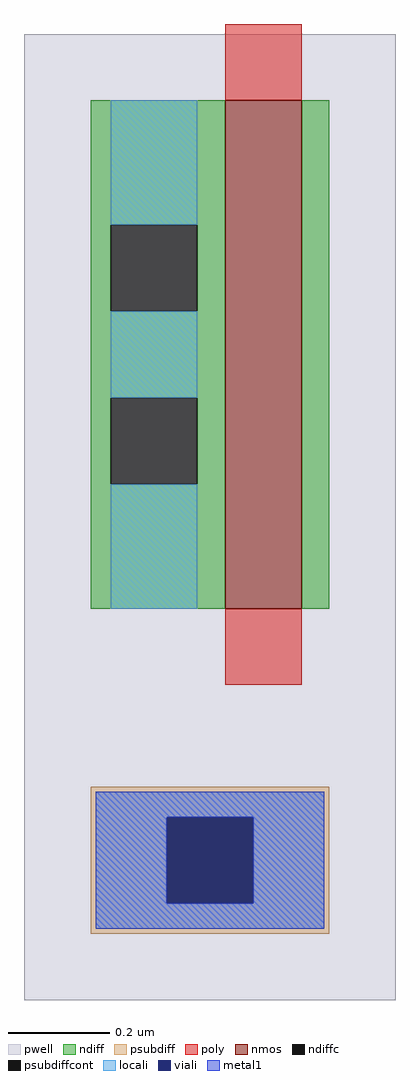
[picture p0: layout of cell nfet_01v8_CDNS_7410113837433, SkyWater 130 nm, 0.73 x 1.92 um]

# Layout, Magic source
magic
tech sky130A
magscale 1 2
<< pwell >>
rect -79 -154 67 226
<< nmos >>
rect 0 0 30 200
<< ndiff >>
rect -53 151 0 200
rect -53 117 -45 151
rect -11 117 0 151
rect -53 83 0 117
rect -53 49 -45 83
rect -11 49 0 83
rect -53 0 0 49
rect 30 0 41 200
<< ndiffc >>
rect -45 117 -11 151
rect -45 49 -11 83
<< psubdiff >>
rect -53 -82 41 -70
rect -53 -116 -23 -82
rect 11 -116 41 -82
rect -53 -128 41 -116
<< psubdiffcont >>
rect -23 -116 11 -82
<< poly >>
rect 0 200 30 230
rect 0 -30 30 0
<< locali >>
rect -45 151 -11 200
rect -45 83 -11 117
rect -45 0 -11 49
rect -51 -82 39 -72
rect -51 -116 -23 -82
rect 11 -116 39 -82
rect -51 -126 39 -116
<< viali >>
rect -23 -116 11 -82
<< metal1 >>
rect -51 -82 39 -72
rect -51 -116 -23 -82
rect 11 -116 39 -82
rect -51 -126 39 -116
<< end >>
